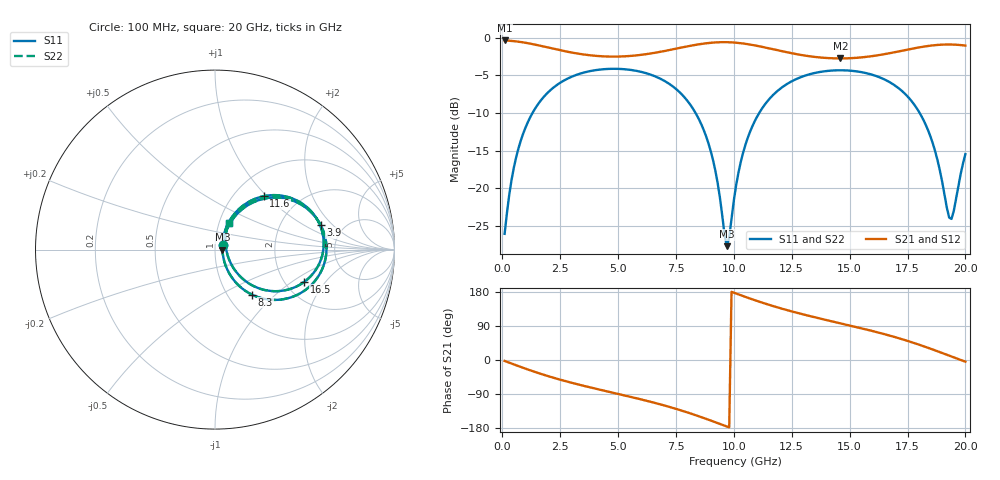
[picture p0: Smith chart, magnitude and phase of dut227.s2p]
! Touchstone file exported from HFSS 2026.1.0
!  File:  C:/ffzhzh/LocalFiles/Ansys_Project_Files/temp_train_TSV_RDL_227_1783064044_45820.aedt
!  Generated:  03:52:14 PM Jul  3, 2026
!  Design:  TSV_RDL
!  Project:  temp_train_TSV_RDL_227_1783064044_45820
! Variables:
!  h_bsmrdl = 5.5um
!  h_ox = 20um
!  h_rdl = 5um
!  h_sub = 76.73um
!  h_tmrdl = 5.01um
!  h_tsv = 76.73um
!  h_via = 3um
!  l_bsmrdl = 621.92um
!  l_sub = 6174.77um
!  l_tmrdl = 954.79um
!  m_sub = 200um
!  pitch = 42.47um
!  r_tsv = 2.24um
!  s_tmrdl = 10um
!  w_bsmrdl = 19.58um
!  w_sub = 500um
!  w_tmrdl = 10.37um
!  x_tsv_center1 = 959.975um
!  x_tsv_center2 = 1601.475um
!  x_tsv_center3 = 2566.635um
!  x_tsv_center4 = 3208.135um
!  x_tsv_center5 = 4173.295um
!  x_tsv_center6 = 4814.795um
# GHz S MA R 50.000000
! Terminal data exported
! Port[1] = TM_RDL1_1_T1
! Port[2] = TM_RDL5_1_T1
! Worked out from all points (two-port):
!   200 points, 100 MHz to 20 GHz, reference 50 ohm
!   highest |S21| = -0.38 dB at 100 MHz (marker M1); lowest = -2.8 dB at 14.6 GHz (marker M2)
!   |S21| within 3 dB of the highest: start of sweep to end of sweep
!   lowest |S11| = -27.7 dB at 9.7 GHz (marker M3), VSWR 1.09, Z = 54.3 - j0.00453 ohm
!   |S11| at or under -10 dB: start of sweep to 1.304 GHz; 8.346 GHz to 11.1 GHz (2.75 GHz wide, 28.3 % of centre); 18.03 GHz to end of sweep
!   |S22| runs from -27.7 to -4.1 dB; largest |S21 - S12| = 1.7e-14
!   S11 on the Smith chart (normalised r, x): 100 MHz: 1.09, +0.06; 3.9 GHz: 3.36, +1.47; 8.3 GHz: 1.29, -0.73; 11.6 GHz: 1.35, +0.96; 16.5 GHz: 2.52, -1.26; 20 GHz: 1.11, +0.34
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0.1  0.04992 30.5  0.9577 -2.4  0.9577 -2.4  0.04992 30.5
! Gamma 0 0 0 0
! Port Impedance 50 0 50 0
0.5  0.1375 59.8  0.9478 -11.7  0.9478 -11.7  0.1375 59.8
1.2  0.2951 54.4  0.9128 -27.1  0.9128 -27.1  0.2951 54.4
3.5  0.5852 18.8  0.7735 -67.9  0.7735 -67.9  0.5852 18.8
3.9  0.604 13.2  0.7604 -73.8  0.7604 -73.8  0.6041 13.2
5.4  0.6144 -6.9  0.7534 -95.2  0.7534 -95.2  0.6144 -6.9
6.8  0.5363 -26.7  0.8038 -116.7  0.8038 -116.7  0.5364 -26.7
8.3  0.3253 -50.6  0.8928 -144.5  0.8928 -144.5  0.3253 -50.6
9.1  0.1543 -59.0  0.9269 -161.9  0.9269 -161.9  0.1543 -59.1
9.7  0.04134 -0.1  0.9327 -175.5  0.9327 -175.5  0.04117 -0.1
10.1  0.105 60.4  0.9253 175.4  0.9253 175.4  0.1049 60.5
10.7  0.2375 60.9  0.8997 162.2  0.8997 162.2  0.2375 60.9
11.6  0.402 47.7  0.8434 144.1  0.8434 144.1  0.402 47.7
13.4  0.5782 21.3  0.7478 114.2  0.7478 114.2  0.5782 21.3
14.6  0.6074 5.5  0.7278 96.8  0.7278 96.8  0.6074 5.5
16.5  0.5284 -19.9  0.7766 68.3  0.7766 68.3  0.5284 -20.0
16.7  0.5094 -22.8  0.7867 64.9  0.7867 64.9  0.5094 -22.8
18.3  0.2614 -45.2  0.8764 34.1  0.8764 34.1  0.2614 -45.3
18.8  0.1528 -45.5  0.8946 23.0  0.8946 23.0  0.1527 -45.6
19.3  0.06396 -4.6  0.9005 11.5  0.9005 11.5  0.06361 -4.7
19.5  0.07098 34.5  0.899 6.9  0.899 6.9  0.07065 34.6
20  0.1687 63.0  0.8855 -4.5  0.8855 -4.5  0.1685 63.1
